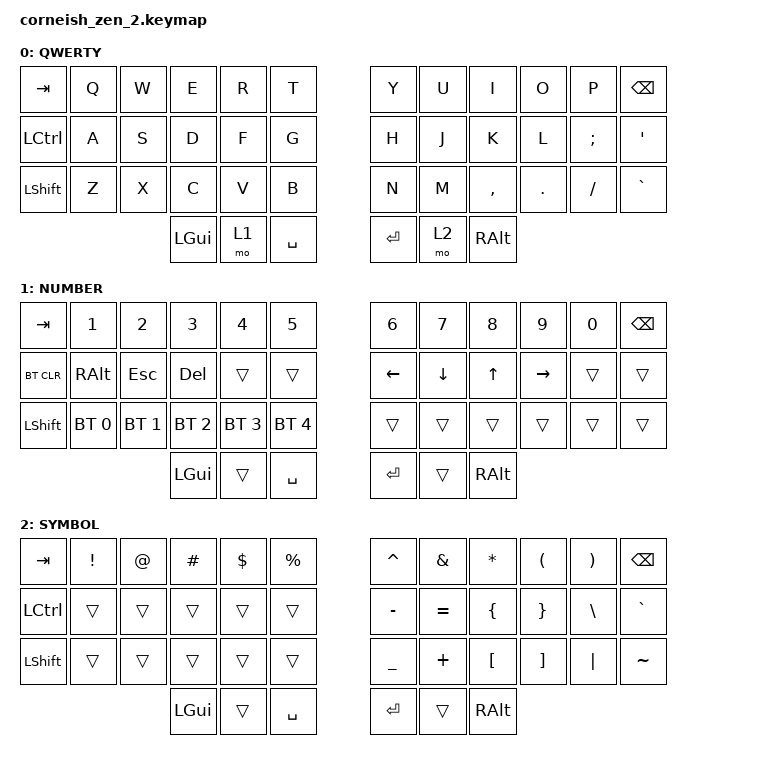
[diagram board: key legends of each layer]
/*
*
* Copyright (c) 2021 Darryl deHaan
* SPDX-License-Identifier: MIT
*
*/

#include <behaviors.dtsi>
#include <dt-bindings/zmk/keys.h>
#include <dt-bindings/zmk/bt.h>

/ {
    chosen {
        zmk,matrix-transform = &default_transform;
        // zmk,matrix-transform = &five_column_transform;
    };
};

/ {
    keymap {
        compatible = "zmk,keymap";

        default_layer {
            display-name = "QWERTY";
// --------------------------------------------------------------------------------
// |  TAB |  Q  |  W  |  E  |  R  |  T  |   |  Y  |  U   |  I  |  O  |  P  | BKSP |
// | CTRL |  A  |  S  |  D  |  F  |  G  |   |  H  |  J   |  K  |  L  |  ;  |  '   |
// | SHFT |  Z  |  X  |  C  |  V  |  B  |   |  N  |  M   |  ,  |  .  |  /  |  `   |
//                    | GUI | LWR | SPC |   | ENT | RSE  | ALT |
            bindings = <
&kp TAB   &kp Q &kp W &kp E &kp R &kp T   &kp Y &kp U  &kp I     &kp O   &kp P    &kp BSPC
&kp LCTRL &kp A &kp S &kp D &kp F &kp G   &kp H &kp J  &kp K     &kp L   &kp SEMI &kp SQT
&kp LSHFT &kp Z &kp X &kp C &kp V &kp B   &kp N &kp M  &kp COMMA &kp DOT &kp FSLH &kp GRAVE
               &kp LGUI &mo 1 &kp SPACE   &kp RET &mo 2 &kp RALT
            >;
        };

        lower_layer {
            display-name = "NUMBER";
// -----------------------------------------------------------------------------------------
// |  TAB |  1  |  2  |  3  |  4  |  5  |   |  6  |  7  |  8  |  9  |  0  | BKSP |
// | BTCLR| ALT | ESC | DEL |     |     |   | LFT | DWN |  UP | RGT |     |      |
// | SHFT | BT1 | BT2 | BT3 | BT4 | BT5 |   |     |     |     |     |     |      |
//                    | GUI |     | SPC |   | ENT |     | ALT |
            bindings = <
&kp TAB    &kp N1       &kp N2       &kp N3       &kp N4       &kp N5         &kp N6   &kp N7   &kp N8 &kp N9    &kp N0 &kp BSPC
&bt BT_CLR &kp RALT     &kp ESC      &kp DEL      &trans       &trans         &kp LEFT &kp DOWN &kp UP &kp RIGHT &trans &trans
&kp LSHFT  &bt BT_SEL 0 &bt BT_SEL 1 &bt BT_SEL 2 &bt BT_SEL 3 &bt BT_SEL 4   &trans   &trans   &trans &trans    &trans &trans
                                     &kp LGUI     &trans       &kp SPACE      &kp RET  &trans   &kp RALT
            >;
        };

        raise_layer {
            display-name = "SYMBOL";
// -----------------------------------------------------------------------------------------
// |  TAB |  !  |  @  |  #  |  $  |  %  |   |  ^  |  &  |  *  |  (  |  )  | BKSP |
// | CTRL |     |     |     |     |     |   |  -  |  =  |  {  |  }  |  \  |  `   |
// | SHFT |     |     |     |     |     |   |  _  |  +  |  [  |  ]  | "|" |  ~   |
//                    | GUI |     | SPC |   | ENT |     | ALT |
            bindings = <
&kp  TAB  &kp EXCL &kp AT &kp HASH &kp DLLR &kp PRCNT   &kp CARET &kp AMPS  &kp ASTRK &kp LPAR &kp RPAR &kp BSPC
&kp LCTRL &trans   &trans &trans   &trans   &trans      &kp MINUS &kp EQUAL &kp LBRC  &kp RBRC &kp BSLH &kp GRAVE
&kp LSHFT &trans   &trans &trans   &trans   &trans      &kp UNDER &kp PLUS  &kp LBKT  &kp RBKT &kp PIPE &kp TILDE
                          &kp LGUI &trans   &kp SPACE   &kp RET   &trans    &kp RALT
            >;
        };
    };
};
